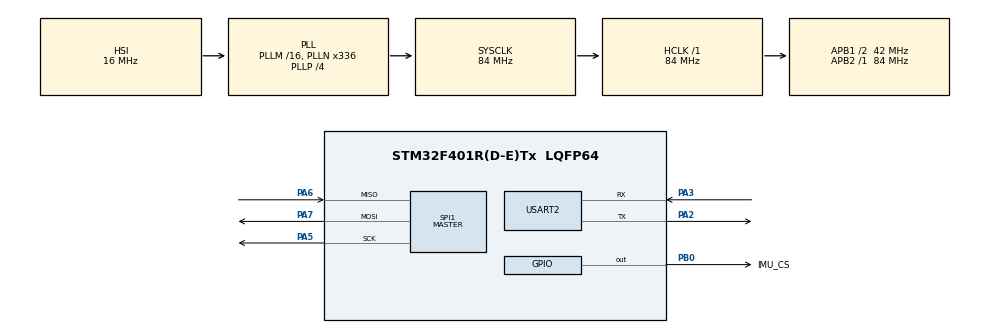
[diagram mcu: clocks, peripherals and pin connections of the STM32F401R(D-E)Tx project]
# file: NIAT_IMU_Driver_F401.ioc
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Mcu.Family=STM32F4
Mcu.Name=STM32F401R(D-E)Tx
Mcu.Package=LQFP64
NVIC.PriorityGroup=NVIC_PRIORITYGROUP_4
PA2.Mode=Asynchronous
PA2.Signal=USART2_TX
PA3.Mode=Asynchronous
PA3.Signal=USART2_RX
PA5.Mode=Full_Duplex_Master
PA5.Signal=SPI1_SCK
PA6.Mode=Full_Duplex_Master
PA6.Signal=SPI1_MISO
PA7.Mode=Full_Duplex_Master
PA7.Signal=SPI1_MOSI
PB0.GPIO_Label=IMU_CS
PB0.PinState=GPIO_PIN_SET
PB0.Signal=GPIO_Output
ProjectManager.HeapSize=0x200
ProjectManager.StackSize=0x400
ProjectManager.TargetToolchain=STM32CubeIDE
RCC.48MHZClocksFreq_Value=84000000
RCC.AHBFreq_Value=84000000
RCC.APB1CLKDivider=RCC_HCLK_DIV2
RCC.APB1Freq_Value=42000000
RCC.APB1TimFreq_Value=84000000
RCC.APB2Freq_Value=84000000
RCC.APB2TimFreq_Value=84000000
RCC.CortexFreq_Value=84000000
RCC.HCLKFreq_Value=84000000
RCC.HSE_VALUE=25000000
RCC.HSI_VALUE=16000000
RCC.LSE_VALUE=32768
RCC.PLLN=336
RCC.PLLP=RCC_PLLP_DIV4
RCC.SYSCLKFreq_VALUE=84000000
RCC.SYSCLKSource=RCC_SYSCLKSOURCE_PLLCLK
RCC.VCOOutputFreq_Value=336000000
SPI1.BaudRatePrescaler=SPI_BAUDRATEPRESCALER_64
SPI1.Direction=SPI_DIRECTION_2LINES
SPI1.Mode=SPI_MODE_MASTER
SPI1.VirtualType=VM_MASTER
USART2.VirtualMode=VM_ASYNC
board=custom

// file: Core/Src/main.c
/* USER CODE BEGIN Header */
/**
  ******************************************************************************
  * @file           : main.c
  * @brief          : Main program body
  ******************************************************************************
  * @attention
  *
  * Copyright (c) 2026 STMicroelectronics.
  * All rights reserved.
  *
  * This software is licensed under terms that can be found in the LICENSE file
  * in the root directory of this software component.
  * If no LICENSE file comes with this software, it is provided AS-IS.
  *
  ******************************************************************************
  */
/* USER CODE END Header */
#include "main.h"
#include <stdio.h>
#include "icm42688p.h"
#include "imu_interface.h"

/* USER CODE BEGIN Includes */
#include <string.h>
/* USER CODE END Includes */

SPI_HandleTypeDef hspi1;

UART_HandleTypeDef huart2;

void SystemClock_Config(void);
static void MX_GPIO_Init(void);
static void MX_SPI1_Init(void);
static void MX_USART2_UART_Init(void);

int main(void)
{

  /* MCU Configuration--------------------------------------------------------*/

  /* Reset of all peripherals, Initializes the Flash interface and the Systick. */
  HAL_Init();

  /* Configure the system clock */
  SystemClock_Config();

  /* Initialize all configured peripherals */
  MX_GPIO_Init();
  MX_SPI1_Init();
  MX_USART2_UART_Init();
  /* USER CODE BEGIN 2 */
  const char *startup_msg =
      "\r\n=== NIAT Nano-Drone IMU Diagnostic ===\r\n";

  HAL_UART_Transmit(
      &huart2,
      (uint8_t *)startup_msg,
      (uint16_t)strlen(startup_msg),
      100U
  );

  const char *init_msg = "Initializing ICM-42688-P...\r\n";

  HAL_UART_Transmit(
      &huart2,
      (uint8_t *)init_msg,
      (uint16_t)strlen(init_msg),
      100U
  );

  /* Initialize the IMU once at startup. */
  icm42688p_status_t imu_status = ICM42688P_Init();

  bool imu_ready = (imu_status == ICM42688P_OK);

  if (imu_ready)
  {
      const char *msg = "IMU initialization: PASS\r\n";

      HAL_UART_Transmit(
          &huart2,
          (uint8_t *)msg,
          (uint16_t)strlen(msg),
          100U
      );
  }
  else
  {
      char msg[80];

      snprintf(
          msg,
          sizeof(msg),
          "IMU initialization: FAIL (status=%d)\r\n",
          (int)imu_status
      );

      HAL_UART_Transmit(
          &huart2,
          (uint8_t *)msg,
          (uint16_t)strlen(msg),
          100U
      );

      const char *warning =
          "Check sensor connection and SPI configuration.\r\n";

      HAL_UART_Transmit(
          &huart2,
          (uint8_t *)warning,
          (uint16_t)strlen(warning),
          100U
      );
  }
   /* USER CODE END 2 */

  /* Infinite loop */
  while (1)
  {

    /* USER CODE BEGIN 3 */
	  if (imu_ready)
	  {
	      int16_t accel_raw[3];
	      int16_t gyro_raw[3];
	      int16_t temperature_raw;

	      imu_measurement_t measurement;

	      icm42688p_status_t read_status =
	          ICM42688P_ReadRawData(
	              accel_raw,
	              gyro_raw,
	              &temperature_raw
	          );

	      if (read_status == ICM42688P_OK)
	      {
	          bool conversion_ok = IMU_ConvertRawMeasurement(
	              accel_raw,
	              gyro_raw,
	              temperature_raw,
	              HAL_GetTick() * 1000U,
	              &measurement
	          );

	          if (conversion_ok)
	          {
	              char msg[200];

	              int length = snprintf(
	                  msg,
	                  sizeof(msg),
	                  "ACC[m/s2]: %.2f, %.2f, %.2f | "
	                  "GYRO[rad/s]: %.3f, %.3f, %.3f | "
	                  "TEMP[C]: %.2f\r\n",
	                  measurement.accel_x,
	                  measurement.accel_y,
	                  measurement.accel_z,
	                  measurement.gyro_x,
	                  measurement.gyro_y,
	                  measurement.gyro_z,
	                  measurement.temperature_c
	              );

	              if (length > 0 && length < (int)sizeof(msg))
	              {
	                  HAL_UART_Transmit(
	                      &huart2,
	                      (uint8_t *)msg,
	                      (uint16_t)length,
	                      100U
	                  );
	              }
	          }
	      }
	      else
	      {
	          const char *msg = "IMU read error\r\n";

	          HAL_UART_Transmit(
	              &huart2,
	              (uint8_t *)msg,
	              (uint16_t)strlen(msg),
	              100U
	          );
	      }
	  }
	  else
	  {
	      /* Keep the firmware alive while the sensor is unavailable. */
	      const char *msg = "IMU not ready; waiting for hardware.\r\n";

	      HAL_UART_Transmit(
	          &huart2,
	          (uint8_t *)msg,
	          (uint16_t)strlen(msg),
	          100U
	      );
	  }

	  HAL_Delay(500U);
  /* USER CODE END 3 */
  }
}

void SystemClock_Config(void)
{
  RCC_OscInitTypeDef RCC_OscInitStruct = {0};
  RCC_ClkInitTypeDef RCC_ClkInitStruct = {0};

  /** Configure the main internal regulator output voltage
  */
  __HAL_RCC_PWR_CLK_ENABLE();
  __HAL_PWR_VOLTAGESCALING_CONFIG(PWR_REGULATOR_VOLTAGE_SCALE2);

  /** Initializes the RCC Oscillators according to the specified parameters
  * in the RCC_OscInitTypeDef structure.
  */
  RCC_OscInitStruct.OscillatorType = RCC_OSCILLATORTYPE_HSI;
  RCC_OscInitStruct.HSIState = RCC_HSI_ON;
  RCC_OscInitStruct.HSICalibrationValue = RCC_HSICALIBRATION_DEFAULT;
  RCC_OscInitStruct.PLL.PLLState = RCC_PLL_ON;
  RCC_OscInitStruct.PLL.PLLSource = RCC_PLLSOURCE_HSI;
  RCC_OscInitStruct.PLL.PLLM = 16;
  RCC_OscInitStruct.PLL.PLLN = 336;
  RCC_OscInitStruct.PLL.PLLP = RCC_PLLP_DIV4;
  RCC_OscInitStruct.PLL.PLLQ = 4;
  if (HAL_RCC_OscConfig(&RCC_OscInitStruct) != HAL_OK)
  {
    Error_Handler();
  }

  /** Initializes the CPU, AHB and APB buses clocks
  */
  RCC_ClkInitStruct.ClockType = RCC_CLOCKTYPE_HCLK|RCC_CLOCKTYPE_SYSCLK
                              |RCC_CLOCKTYPE_PCLK1|RCC_CLOCKTYPE_PCLK2;
  RCC_ClkInitStruct.SYSCLKSource = RCC_SYSCLKSOURCE_PLLCLK;
  RCC_ClkInitStruct.AHBCLKDivider = RCC_SYSCLK_DIV1;
  RCC_ClkInitStruct.APB1CLKDivider = RCC_HCLK_DIV2;
  RCC_ClkInitStruct.APB2CLKDivider = RCC_HCLK_DIV1;

  if (HAL_RCC_ClockConfig(&RCC_ClkInitStruct, FLASH_LATENCY_2) != HAL_OK)
  {
    Error_Handler();
  }
}

static void MX_SPI1_Init(void)
{

  /* SPI1 parameter configuration*/
  hspi1.Instance = SPI1;
  hspi1.Init.Mode = SPI_MODE_MASTER;
  hspi1.Init.Direction = SPI_DIRECTION_2LINES;
  hspi1.Init.DataSize = SPI_DATASIZE_8BIT;
  hspi1.Init.CLKPolarity = SPI_POLARITY_LOW;
  hspi1.Init.CLKPhase = SPI_PHASE_1EDGE;
  hspi1.Init.NSS = SPI_NSS_SOFT;
  hspi1.Init.BaudRatePrescaler = SPI_BAUDRATEPRESCALER_64;
  hspi1.Init.FirstBit = SPI_FIRSTBIT_MSB;
  hspi1.Init.TIMode = SPI_TIMODE_DISABLE;
  hspi1.Init.CRCCalculation = SPI_CRCCALCULATION_DISABLE;
  hspi1.Init.CRCPolynomial = 10;
  if (HAL_SPI_Init(&hspi1) != HAL_OK)
  {
    Error_Handler();
  }

}

static void MX_USART2_UART_Init(void)
{

  huart2.Instance = USART2;
  huart2.Init.BaudRate = 115200;
  huart2.Init.WordLength = UART_WORDLENGTH_8B;
  huart2.Init.StopBits = UART_STOPBITS_1;
  huart2.Init.Parity = UART_PARITY_NONE;
  huart2.Init.Mode = UART_MODE_TX_RX;
  huart2.Init.HwFlowCtl = UART_HWCONTROL_NONE;
  huart2.Init.OverSampling = UART_OVERSAMPLING_16;
  if (HAL_UART_Init(&huart2) != HAL_OK)
  {
    Error_Handler();
  }

}

static void MX_GPIO_Init(void)
{
  GPIO_InitTypeDef GPIO_InitStruct = {0};

  /* GPIO Ports Clock Enable */
  __HAL_RCC_GPIOA_CLK_ENABLE();
  __HAL_RCC_GPIOB_CLK_ENABLE();

  /*Configure GPIO pin Output Level */
  HAL_GPIO_WritePin(IMU_CS_GPIO_Port, IMU_CS_Pin, GPIO_PIN_SET);

  /*Configure GPIO pin : IMU_CS_Pin */
  GPIO_InitStruct.Pin = IMU_CS_Pin;
  GPIO_InitStruct.Mode = GPIO_MODE_OUTPUT_PP;
  GPIO_InitStruct.Pull = GPIO_NOPULL;
  GPIO_InitStruct.Speed = GPIO_SPEED_FREQ_LOW;
  HAL_GPIO_Init(IMU_CS_GPIO_Port, &GPIO_InitStruct);

}

void Error_Handler(void)
{
  __disable_irq();
  while (1)
  {
  }
}
